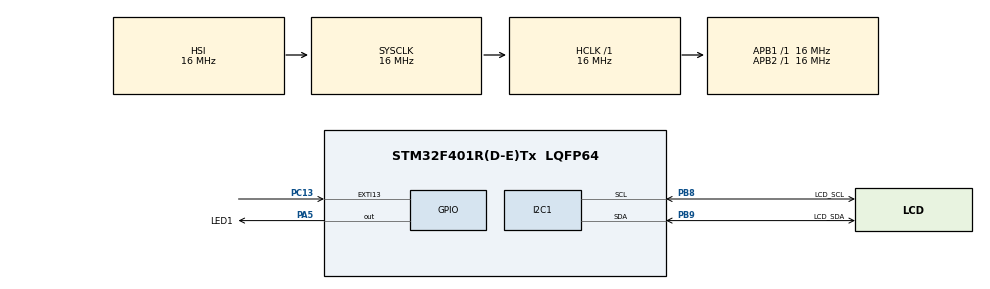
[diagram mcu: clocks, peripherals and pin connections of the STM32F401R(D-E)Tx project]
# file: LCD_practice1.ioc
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Mcu.Family=STM32F4
Mcu.Name=STM32F401R(D-E)Tx
Mcu.Package=LQFP64
NVIC.I2C1_ER_IRQn=true\:1\:0\:true\:false\:true\:true\:true
NVIC.I2C1_EV_IRQn=true\:1\:0\:true\:false\:true\:true\:true
NVIC.PriorityGroup=NVIC_PRIORITYGROUP_4
PA5.GPIO_Label=LED1
PA5.PinState=GPIO_PIN_SET
PA5.Signal=GPIO_Output
PB8.GPIO_Label=LCD_SCL
PB8.Mode=I2C
PB8.Signal=I2C1_SCL
PB9.GPIO_Label=LCD_SDA
PB9.Mode=I2C
PB9.Signal=I2C1_SDA
PC13-ANTI_TAMP.GPIO_ModeDefaultEXTI=GPIO_MODE_IT_FALLING
PC13-ANTI_TAMP.Signal=GPXTI13
ProjectManager.HeapSize=0x200
ProjectManager.StackSize=0x400
ProjectManager.TargetToolchain=TrueSTUDIO
RCC.AHBFreq_Value=16000000
RCC.APB1Freq_Value=16000000
RCC.APB2Freq_Value=16000000
RCC.CortexFreq_Value=16000000
RCC.HSE_VALUE=25000000
RCC.HSI_VALUE=16000000
RCC.LSE_VALUE=32768
RCC.SYSCLKFreq_VALUE=16000000
RCC.VCOOutputFreq_Value=192000000
board=custom

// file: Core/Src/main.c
/* USER CODE BEGIN Header */
/**
  ******************************************************************************
  * @file           : main.c
  * @brief          : Main program body
  ******************************************************************************
  * @attention
  *
  * <h2><center>&copy; Copyright (c) 2021 STMicroelectronics.
  * All rights reserved.</center></h2>
  *
  * This software component is licensed by ST under BSD 3-Clause license,
  * the "License"; You may not use this file except in compliance with the
  * License. You may obtain a copy of the License at:
  *                        opensource.org/licenses/BSD-3-Clause
  *
  ******************************************************************************
  */
/* USER CODE END Header */
#include "main.h"

/* USER CODE BEGIN PD */
//コマンド送信用定数
#define LCDADRESS 0xa0	//LCDのスレーブアドレス
#define CMDSEND 0x00	//データ送信
#define	DATASEND 0x80	//コマンド送信
/* USER CODE END PD */

I2C_HandleTypeDef hi2c1;

void SystemClock_Config(void);
static void MX_GPIO_Init(void);
static void MX_I2C1_Init(void);

/* USER CODE BEGIN 0 */

//コマンド送信用関数
void writeCmd(uint8_t cmd)
{
	uint8_t buf[] = {CMDSEND,cmd};
	HAL_I2C_Master_Transmit(&hi2c1,LCDADRESS,buf,sizeof(buf),HAL_MAX_DELAY);
}

//データ送信用関数
void writeData(uint8_t data)
{
	uint8_t buf[] = {DATASEND,data};
	HAL_I2C_Master_Transmit(&hi2c1 ,LCDADRESS , buf,sizeof(buf),HAL_MAX_DELAY);
}

//LCD初期化関数
void Lcd_init(){
	writeCmd(0x01);
	HAL_Delay(5);		//200msまち
	writeCmd(0x38);		//ファンクション設定
	HAL_Delay(5);		//200ms
	writeCmd(0x0f);		//ディスプレイＯＮ、CURSOR-ON、blinking-ON
	HAL_Delay(5);		//200msまち
	writeCmd(0x06);		//データ書き込み後アドレス加算モード設定
	HAL_Delay(5);		//200msまち
}

//LCD画面クリア
void LCD_Clear(void){
	writeCmd(0x01);
	HAL_Delay(2);
}

//LCDのカーソル位置設定
void LCD_SetCursor(uint8_t col,uint8_t row)
{
	uint8_t row_offsets[] = { 0x00, 0x40, 0x14, 0x54 };
	if (row > 1) {
	row = 1;
	}
	writeCmd(0x80 | (col + row_offsets[row]));
}

//LCD文字出力
void LCD_Print(char* str)
{
	while (*str) {
		writeData((uint8_t)*str++);
	}
}
/* USER CODE END 0 */

int main(void)
{

  /* MCU Configuration--------------------------------------------------------*/

  /* Reset of all peripherals, Initializes the Flash interface and the Systick. */
  HAL_Init();

  /* Configure the system clock */
  SystemClock_Config();

  /* Initialize all configured peripherals */
  MX_GPIO_Init();
  MX_I2C1_Init();
  /* USER CODE BEGIN 2 */

  Lcd_init();				//LCD初期化
  LCD_SetCursor(0, 0);		//カーソル位置を0,0に設定(1行目の左端)
  LCD_Print("Hello World!");//Hellow World!を出力
  LCD_SetCursor(0, 1);		//カーソル位置を0,1に設定(2行目の左端)
  LCD_Print("Thank you"); //Thank youを出力
  /* USER CODE END 2 */

  /* Infinite loop */
  while (1)
  {

  }
}

void SystemClock_Config(void)
{
  RCC_OscInitTypeDef RCC_OscInitStruct = {0};
  RCC_ClkInitTypeDef RCC_ClkInitStruct = {0};

  /** Configure the main internal regulator output voltage
  */
  __HAL_RCC_PWR_CLK_ENABLE();
  __HAL_PWR_VOLTAGESCALING_CONFIG(PWR_REGULATOR_VOLTAGE_SCALE2);
  /** Initializes the RCC Oscillators according to the specified parameters
  * in the RCC_OscInitTypeDef structure.
  */
  RCC_OscInitStruct.OscillatorType = RCC_OSCILLATORTYPE_HSI;
  RCC_OscInitStruct.HSIState = RCC_HSI_ON;
  RCC_OscInitStruct.HSICalibrationValue = RCC_HSICALIBRATION_DEFAULT;
  RCC_OscInitStruct.PLL.PLLState = RCC_PLL_NONE;
  if (HAL_RCC_OscConfig(&RCC_OscInitStruct) != HAL_OK)
  {
    Error_Handler();
  }
  /** Initializes the CPU, AHB and APB buses clocks
  */
  RCC_ClkInitStruct.ClockType = RCC_CLOCKTYPE_HCLK|RCC_CLOCKTYPE_SYSCLK
                              |RCC_CLOCKTYPE_PCLK1|RCC_CLOCKTYPE_PCLK2;
  RCC_ClkInitStruct.SYSCLKSource = RCC_SYSCLKSOURCE_HSI;
  RCC_ClkInitStruct.AHBCLKDivider = RCC_SYSCLK_DIV1;
  RCC_ClkInitStruct.APB1CLKDivider = RCC_HCLK_DIV1;
  RCC_ClkInitStruct.APB2CLKDivider = RCC_HCLK_DIV1;

  if (HAL_RCC_ClockConfig(&RCC_ClkInitStruct, FLASH_LATENCY_0) != HAL_OK)
  {
    Error_Handler();
  }
}

static void MX_I2C1_Init(void)
{

  hi2c1.Instance = I2C1;
  hi2c1.Init.ClockSpeed = 70000;
  hi2c1.Init.DutyCycle = I2C_DUTYCYCLE_2;
  hi2c1.Init.OwnAddress1 = 0;
  hi2c1.Init.AddressingMode = I2C_ADDRESSINGMODE_7BIT;
  hi2c1.Init.DualAddressMode = I2C_DUALADDRESS_DISABLE;
  hi2c1.Init.OwnAddress2 = 0;
  hi2c1.Init.GeneralCallMode = I2C_GENERALCALL_DISABLE;
  hi2c1.Init.NoStretchMode = I2C_NOSTRETCH_DISABLE;
  if (HAL_I2C_Init(&hi2c1) != HAL_OK)
  {
    Error_Handler();
  }

}

static void MX_GPIO_Init(void)
{
  GPIO_InitTypeDef GPIO_InitStruct = {0};

  /* GPIO Ports Clock Enable */
  __HAL_RCC_GPIOC_CLK_ENABLE();
  __HAL_RCC_GPIOA_CLK_ENABLE();
  __HAL_RCC_GPIOB_CLK_ENABLE();

  /*Configure GPIO pin Output Level */
  HAL_GPIO_WritePin(LED1_GPIO_Port, LED1_Pin, GPIO_PIN_SET);

  /*Configure GPIO pin : PC13 */
  GPIO_InitStruct.Pin = GPIO_PIN_13;
  GPIO_InitStruct.Mode = GPIO_MODE_IT_FALLING;
  GPIO_InitStruct.Pull = GPIO_NOPULL;
  HAL_GPIO_Init(GPIOC, &GPIO_InitStruct);

  /*Configure GPIO pin : LED1_Pin */
  GPIO_InitStruct.Pin = LED1_Pin;
  GPIO_InitStruct.Mode = GPIO_MODE_OUTPUT_PP;
  GPIO_InitStruct.Pull = GPIO_NOPULL;
  GPIO_InitStruct.Speed = GPIO_SPEED_FREQ_LOW;
  HAL_GPIO_Init(LED1_GPIO_Port, &GPIO_InitStruct);

}

void Error_Handler(void)
{
  __disable_irq();
  while (1)
  {
  }
}

/************************ (C) COPYRIGHT STMicroelectronics *****END OF FILE****/
